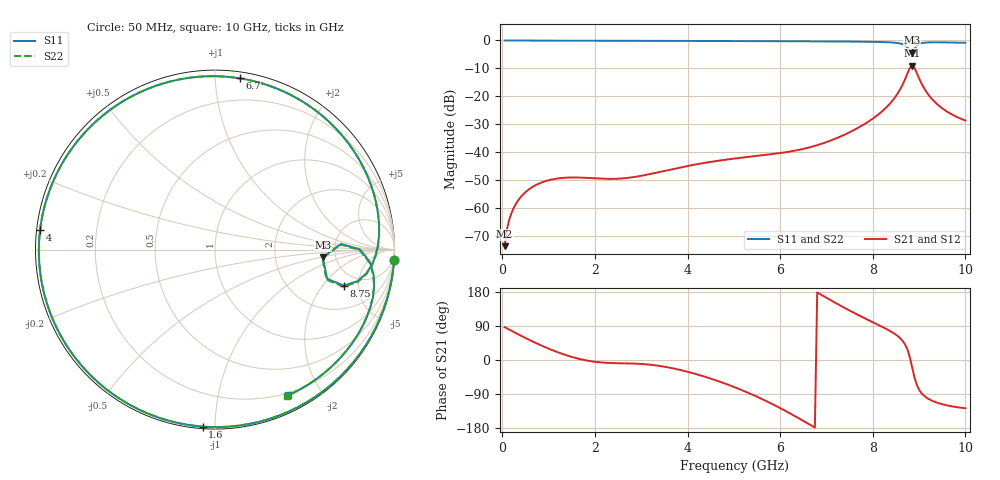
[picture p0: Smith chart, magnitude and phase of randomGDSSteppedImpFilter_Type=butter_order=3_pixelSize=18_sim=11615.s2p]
! freq	dB(S11)	phase(S11)	dB(S12)	phase(S12)
!  dB(S21)	phase(S21)	dB(S22)	phase(S22)
!S-par simulation data
#  GHz  S  DB  R 50
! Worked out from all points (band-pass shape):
!   200 points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, 50 MHz to 10 GHz, reference 50 ohm
!   highest |S21| = -9.00 dB at 8.85 GHz (marker M1); lowest = -73.8 dB at 50 MHz (marker M2)
!   |S21| within 3 dB of the highest: 8.744 GHz to 8.959 GHz (214.6 MHz wide, 2.42 % of centre)
!   lowest |S11| = -4.4 dB at 8.85 GHz (marker M3), VSWR 4.03, Z = 198 - j27.2 ohm
!   |S11| at or under -10 dB: nowhere
!   |S22| runs from -4.4 to 0.0 dB; largest |S21 - S12| = 0
!   S11 on the Smith chart (normalised r, x): 50 MHz: 0, -35; 1.6 GHz: 0.01, -0.93; 4 GHz: 0.01, +0.06; 6.7 GHz: 0.04, +1.15; 8.75 GHz: 3.72, -3.35; 10 GHz: 0.17, -1.61
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0.05  -0.00 -3.3  -73.77 86.7  -73.77 86.7  -0.00 -3.3
0.1  -0.01 -6.6  -67.77 83.5  -67.77 83.5  -0.01 -6.6
0.2  -0.02 -13.0  -61.83 77.0  -61.83 77.0  -0.02 -13.0
0.5  -0.04 -32.1  -54.40 58.1  -54.40 58.1  -0.05 -32.1
1.05  -0.08 -65.0  -49.93 27.5  -49.93 27.5  -0.08 -65.0
1.6  -0.10 -94.0  -49.15 4.8  -49.15 4.8  -0.10 -94.0
1.75  -0.11 -101.2  -49.22 0.5  -49.22 0.5  -0.11 -101.2
2.55  -0.13 -135.5  -49.53 -8.6  -49.53 -8.6  -0.13 -135.6
3.4  -0.15 -166.5  -47.14 -15.7  -47.14 -15.7  -0.15 -166.5
4  -0.17 173.5  -45.02 -31.0  -45.02 -31.0  -0.17 173.5
5.05  -0.21 139.5  -42.27 -73.4  -42.27 -73.4  -0.21 139.5
5.95  -0.26 109.3  -40.50 -123.7  -40.50 -123.7  -0.26 109.1
6.7  -0.32 81.9  -38.04 -174.7  -38.04 -174.7  -0.32 81.7
7.5  -0.40 49.5  -32.92 130.5  -32.92 130.5  -0.40 49.2
8.35  -0.67 9.6  -23.04 78.1  -23.04 78.1  -0.67 9.3
8.6  -1.11 -5.2  -17.28 56.6  -17.28 56.6  -1.12 -5.6
8.75  -2.55 -15.6  -11.78 27.1  -11.78 27.1  -2.57 -16.1
8.85  -4.40 -4.2  -9.00 -19.3  -9.00 -19.3  -4.44 -4.5
9  -1.25 -4.6  -13.60 -78.3  -13.60 -78.3  -1.25 -4.9
9.15  -0.74 -16.6  -18.25 -98.5  -18.25 -98.5  -0.74 -17.0
9.5  -0.68 -37.3  -24.34 -116.7  -24.34 -116.7  -0.69 -37.7
10  -0.84 -63.3  -28.70 -127.4  -28.70 -127.4  -0.84 -63.7
